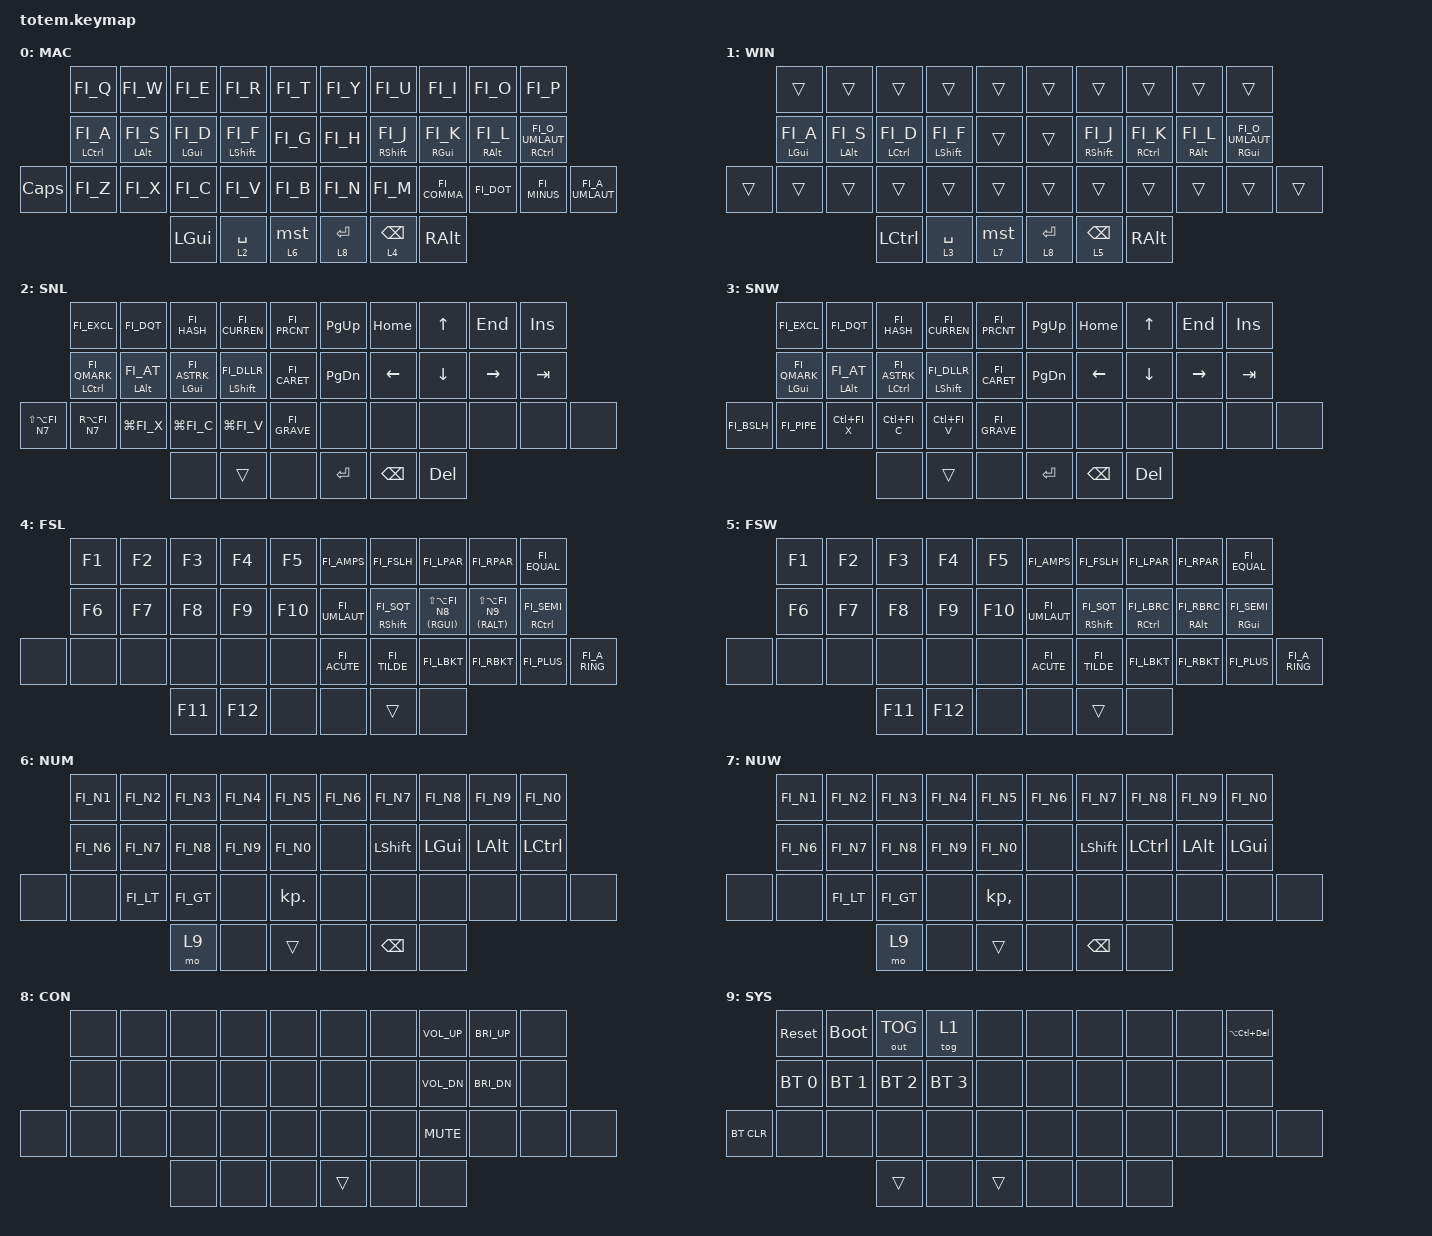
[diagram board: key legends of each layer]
// Configuration built with https://nickcoutsos.github.io/keymap-editor/

#include <behaviors.dtsi>
#include <dt-bindings/zmk/bt.h>
#include <dt-bindings/zmk/keys.h>
#include <dt-bindings/zmk/outputs.h>
#include "keys_fi.h" // Source: https://github.com/joelspadin/zmk-locale-generator

&sk {
    release-after-ms = <900>;
    quick-release;
};

/ {
    behaviors {
        hml: home_row_mod_left {
            compatible = "zmk,behavior-hold-tap";
            #binding-cells = <2>;
            bindings = <&kp>, <&kp>;

            flavor = "balanced";
            require-prior-idle-ms = <150>;
            tapping-term-ms = <280>;
            quick-tap-ms = <175>;
            hold-trigger-key-positions = <5 6 7 8 9 15 16 17 18 19 26 27 28 29 30 31 32 33 34 35 36 37>;
            hold-trigger-on-release;
        };

        hmr: home_row_mod_right {
            compatible = "zmk,behavior-hold-tap";
            #binding-cells = <2>;
            bindings = <&kp>, <&kp>;

            flavor = "balanced";
            require-prior-idle-ms = <150>;
            tapping-term-ms = <280>;
            quick-tap-ms = <175>;
            hold-trigger-key-positions = <4 3 2 1 0 14 13 12 11 10 25 24 23 22 21 20 32 33 34 35 36 37>;
            hold-trigger-on-release;
        };

        hnl: home_row_nav_left {
            compatible = "zmk,behavior-hold-tap";
            #binding-cells = <2>;
            bindings = <&kp>, <&kp>;

            flavor = "hold-preferred";
            tapping-term-ms = <175>;
        };

        msh: magic_shift {
            compatible = "zmk,behavior-hold-tap";
            #binding-cells = <2>;
            bindings = <&mo>, <&mst>;

            flavor = "balanced";
            tapping-term-ms = <200>;
            quick-tap-ms = <175>;
        };

        mst: magic_shift_tap {
            compatible = "zmk,behavior-mod-morph";
            bindings = <&sk LSHFT>, <&caps_word>;

            #binding-cells = <0>;
            mods = <(MOD_LSFT)>;
        };
    };

    combos {
        compatible = "zmk,combos";

        combo_esc {
            bindings = <&kp ESC>;
            key-positions = <0 1>;
            timeout-ms = <18>;
            require-prior-idle-ms = <150>;
            layers = <0 1>;
        };
    };

    keymap {
        compatible = "zmk,keymap";

        base_layer {
            bindings = <
          &kp FI_Q         &kp FI_W        &kp FI_E        &kp FI_R         &kp FI_T    &kp FI_Y   &kp FI_U         &kp FI_I        &kp FI_O        &kp FI_P
          &hml LCTRL FI_A  &hml LALT FI_S  &hml LGUI FI_D  &hml LSHFT FI_F  &kp FI_G    &kp FI_H   &hmr RSHFT FI_J  &hmr RGUI FI_K  &hmr RALT FI_L  &hmr RCTRL FI_O_UMLAUT
&kp CAPS  &kp FI_Z         &kp FI_X        &kp FI_C        &kp FI_V         &kp FI_B    &kp FI_N   &kp FI_M         &kp FI_COMMA    &kp FI_DOT      &kp FI_MINUS            &kp FI_A_UMLAUT
                                           &kp LGUI        &lt 2 SPACE      &msh 6 0    &lt 8 RET  &lt 4 BSPC       &kp RALT
            >;

            label = "MAC";
        };

        base_win {
            bindings = <
        &trans          &trans          &trans           &trans           &trans      &trans     &trans           &trans           &trans          &trans
        &hml LGUI FI_A  &hml LALT FI_S  &hml LCTRL FI_D  &hml LSHFT FI_F  &trans      &trans     &hmr RSHFT FI_J  &hmr RCTRL FI_K  &hmr RALT FI_L  &hmr RGUI FI_O_UMLAUT
&trans  &trans          &trans          &trans           &trans           &trans      &trans     &trans           &trans           &trans          &trans                 &trans
                                        &kp LCTRL        &lt 3 SPACE      &msh 7 0    &lt 8 RET  &lt 5 BSPC       &kp RALT
            >;

            label = "WIN";
        };

        snav_layer {
            bindings = <
                   &kp FI_EXCL          &kp FI_DQT       &kp FI_HASH         &kp FI_CURREN       &kp FI_PRCNT    &kp PG_UP  &kp HOME  &kp UP    &kp END    &kp INS
                   &hnl LCTRL FI_QMARK  &hnl LALT FI_AT  &hnl LGUI FI_ASTRK  &hnl LSHFT FI_DLLR  &kp FI_CARET    &kp PG_DN  &kp LEFT  &kp DOWN  &kp RIGHT  &kp TAB
&kp LS(LA(FI_N7))  &kp RA(FI_N7)        &kp LG(FI_X)     &kp LG(FI_C)        &kp LG(FI_V)        &kp FI_GRAVE    &none      &none     &none     &none      &none    &none
                                                         &none               &trans              &none           &kp RET    &kp BSPC  &kp DEL
            >;

            label = "SNL";
        };

        snav_win {
            bindings = <
             &kp FI_EXCL         &kp FI_DQT       &kp FI_HASH          &kp FI_CURREN       &kp FI_PRCNT    &kp PG_UP  &kp HOME  &kp UP    &kp END    &kp INS
             &hnl LGUI FI_QMARK  &hnl LALT FI_AT  &hnl LCTRL FI_ASTRK  &hnl LSHFT FI_DLLR  &kp FI_CARET    &kp PG_DN  &kp LEFT  &kp DOWN  &kp RIGHT  &kp TAB
&kp FI_BSLH  &kp FI_PIPE         &kp LC(FI_X)     &kp LC(FI_C)         &kp LC(FI_V)        &kp FI_GRAVE    &none      &none     &none     &none      &none    &none
                                                  &none                &trans              &none           &kp RET    &kp BSPC  &kp DEL
            >;

            label = "SNW";
        };

        fsym_layer {
            bindings = <
       &kp F1  &kp F2  &kp F3   &kp F4   &kp F5     &kp FI_AMPS    &kp FI_FSLH        &kp FI_LPAR                &kp FI_RPAR                &kp FI_EQUAL
       &kp F6  &kp F7  &kp F8   &kp F9   &kp F10    &kp FI_UMLAUT  &hmr RSHFT FI_SQT  &hmr (RGUI) LS(LA(FI_N8))  &hmr (RALT) LS(LA(FI_N9))  &hmr RCTRL FI_SEMI
&none  &none   &none   &none    &none    &none      &kp FI_ACUTE   &kp FI_TILDE       &kp FI_LBKT                &kp FI_RBKT                &kp FI_PLUS         &kp FI_A_RING
                       &kp F11  &kp F12  &none      &none          &trans             &none
            >;

            label = "FSL";
        };

        fsym_win {
            bindings = <
       &kp F1  &kp F2  &kp F3   &kp F4   &kp F5     &kp FI_AMPS    &kp FI_FSLH        &kp FI_LPAR         &kp FI_RPAR        &kp FI_EQUAL
       &kp F6  &kp F7  &kp F8   &kp F9   &kp F10    &kp FI_UMLAUT  &hmr RSHFT FI_SQT  &hmr RCTRL FI_LBRC  &hmr RALT FI_RBRC  &hmr RGUI FI_SEMI
&none  &none   &none   &none    &none    &none      &kp FI_ACUTE   &kp FI_TILDE       &kp FI_LBKT         &kp FI_RBKT        &kp FI_PLUS        &kp FI_A_RING
                       &kp F11  &kp F12  &none      &none          &trans             &none
            >;

            label = "FSW";
        };

        num_layer {
            bindings = <
       &kp FI_N1  &kp FI_N2  &kp FI_N3  &kp FI_N4  &kp FI_N5     &kp FI_N6  &kp FI_N7  &kp FI_N8  &kp FI_N9  &kp FI_N0
       &kp FI_N6  &kp FI_N7  &kp FI_N8  &kp FI_N9  &kp FI_N0     &none      &kp LSHFT  &kp LGUI   &kp LALT   &kp LCTRL
&none  &none      &kp FI_LT  &kp FI_GT  &none      &kp KP_DOT    &none      &none      &none      &none      &none      &none
                             &mo 9      &none      &trans        &none      &kp BSPC   &none
            >;

            label = "NUM";
        };

        num_win {
            bindings = <
       &kp FI_N1  &kp FI_N2  &kp FI_N3  &kp FI_N4  &kp FI_N5       &kp FI_N6  &kp FI_N7  &kp FI_N8  &kp FI_N9  &kp FI_N0
       &kp FI_N6  &kp FI_N7  &kp FI_N8  &kp FI_N9  &kp FI_N0       &none      &kp LSHFT  &kp LCTRL  &kp LALT   &kp LGUI
&none  &none      &kp FI_LT  &kp FI_GT  &none      &kp KP_COMMA    &none      &none      &none      &none      &none      &none
                             &mo 9      &none      &trans          &none      &kp BSPC   &none
            >;

            label = "NUW";
        };

        con_layer {
            bindings = <
       &none  &none  &none  &none  &none    &none   &none  &kp C_VOL_UP  &kp C_BRI_UP  &none
       &none  &none  &none  &none  &none    &none   &none  &kp C_VOL_DN  &kp C_BRI_DN  &none
&none  &none  &none  &none  &none  &none    &none   &none  &kp C_MUTE    &none         &none  &none
                     &none  &none  &none    &trans  &none  &none
            >;

            label = "CON";
        };

        sys_layer {
            bindings = <
            &sys_reset    &bootloader   &out OUT_TOG  &tog 1        &none     &none  &none  &none  &none  &kp LA(LC(DEL))
            &bt BT_SEL 0  &bt BT_SEL 1  &bt BT_SEL 2  &bt BT_SEL 3  &none     &none  &none  &none  &none  &none
&bt BT_CLR  &none         &none         &none         &none         &none     &none  &none  &none  &none  &none            &none
                                        &trans        &none         &trans    &none  &none  &none
            >;

            label = "SYS";
        };
    };
};
